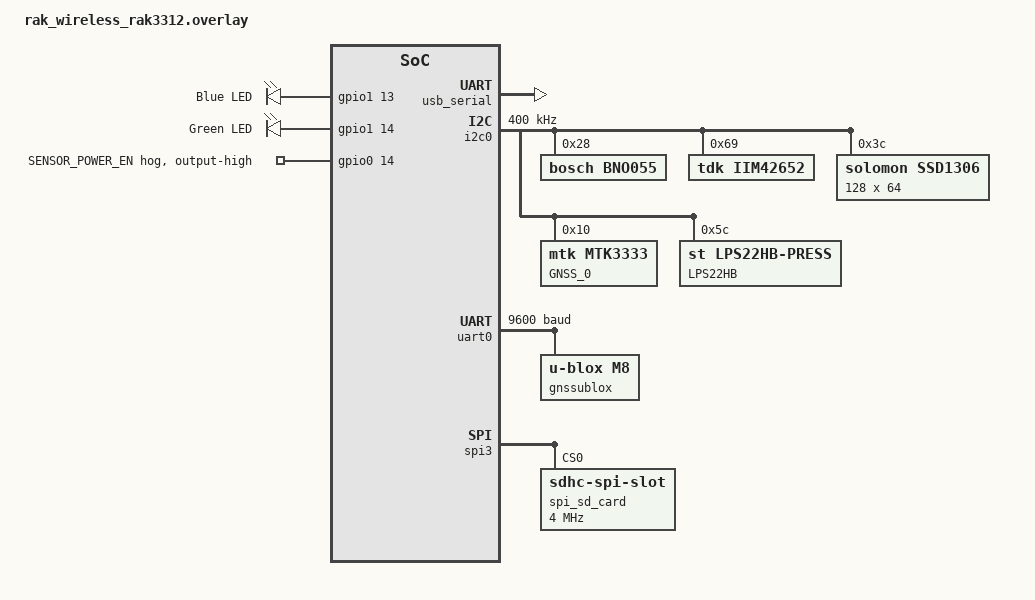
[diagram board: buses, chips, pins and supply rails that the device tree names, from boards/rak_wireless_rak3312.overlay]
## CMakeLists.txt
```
# SPDX-License-Identifier: Apache-2.0

cmake_minimum_required(VERSION 3.13.1)

get_filename_component(PARENT_DIR "${CMAKE_CURRENT_SOURCE_DIR}" DIRECTORY)
list(APPEND ZEPHYR_EXTRA_MODULES ${PARENT_DIR}/astro_custom_modules/libmicroros)
list(APPEND ZEPHYR_EXTRA_MODULES ${PARENT_DIR}/astro_custom_modules/sensor)
list(APPEND ZEPHYR_EXTRA_MODULES ${PARENT_DIR}/astro_custom_modules/iim42652_rak12033)
list(APPEND ZEPHYR_EXTRA_MODULES ${PARENT_DIR}/astro_custom_modules/gnss)

# Include local credentials (Wi-Fi SSID/password, agent IP) without committing them.
# Copy local.conf.example -> local.conf and fill in your values.
if(EXISTS "${CMAKE_CURRENT_SOURCE_DIR}/local.conf")
    list(APPEND OVERLAY_CONFIG "${CMAKE_CURRENT_SOURCE_DIR}/local.conf")
endif()

find_package(Zephyr REQUIRED HINTS $ENV{ZEPHYR_BASE})
project(microros_node)
if(CONFIG_PICOLIBC)
    add_compile_definitions(__STDC_WANT_LIB_EXT1__=1)
endif()

# The ESP32 WiFi adapter (libzephyr) and picolibc both define random().
# Allow the linker to pick the first definition (ESP32's) and ignore the duplicate.
if(CONFIG_WIFI_ESP32 AND CONFIG_PICOLIBC)
    zephyr_link_libraries(-Wl,--allow-multiple-definition)
endif()


target_sources(app PRIVATE src/node_main.cpp src/node_callbacks.cpp src/gnss_handler.cpp src/wifi_handler.cpp src/storage.cpp src/oled_wrapper.cpp src/oled_layout.cpp src/cfb_font_0608.c)
set_source_files_properties(src/wifi_handler.cpp PROPERTIES COMPILE_OPTIONS "-fpermissive")
message(board name is ${BOARD} \n\n)
if(BOARD STREQUAL "adafruit_feather_esp32s3")
    target_sources(app PRIVATE src/status_class.cpp)
endif()
```

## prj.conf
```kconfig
CONFIG_GPIO=y
CONFIG_REBOOT=y

# Display / OLED
CONFIG_DISPLAY=y
CONFIG_CHARACTER_FRAMEBUFFER=y
CONFIG_CHARACTER_FRAMEBUFFER_USE_DEFAULT_FONTS=n
CONFIG_MICROROS=y
CONFIG_MICROROS_PUBLISHERS="8"
CONFIG_MICROROS_SUBSCRIBERS="8"
CONFIG_MICROROS_CLIENTS="8"
CONFIG_MICROROS_SERVERS="8"
CONFIG_MICROROS_GUARD_CONDITIONS="8"
CONFIG_MICROROS_XRCE_DDS_HISTORIC="8"
CONFIG_MICROROS_RMW_HISTORIC="8"
CONFIG_MICROROS_XRCE_DDS_MTU="512"
CONFIG_MICROROS_TRANSPORT_UDP=y
# Wi-Fi credentials and agent address are kept out of version control.
# Set them in local.conf (see local.conf.example).

CONFIG_NETWORKING=y
CONFIG_NET_IPV4=y
CONFIG_NET_IPV6=n
CONFIG_NET_UDP=y
CONFIG_NET_DHCPV4=y
CONFIG_NET_SOCKETS=y
CONFIG_NET_MGMT=y
CONFIG_NET_MGMT_EVENT=y
CONFIG_NET_MGMT_EVENT_INFO=y
CONFIG_NET_L2_WIFI_MGMT=y
CONFIG_WIFI=y
CONFIG_WIFI_ESP32=y
CONFIG_ESP32_WIFI_STA_AUTO_DHCPV4=y
CONFIG_CPP=y

CONFIG_MAIN_STACK_SIZE=8192

CONFIG_PICOLIBC=y
CONFIG_POSIX_API=y

CONFIG_STDOUT_CONSOLE=y
CONFIG_LOG=y
CONFIG_SERIAL=y
CONFIG_UART_CONSOLE=y
CONFIG_CONSOLE=y
CONFIG_PICOLIBC_MODULE=y
CONFIG_STD_CPP14=y
CONFIG_REQUIRES_FULL_LIBCPP=y
CONFIG_POSIX_CLOCK_SELECTION=y
```

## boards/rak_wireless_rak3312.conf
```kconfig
# USB device (new stack)
CONFIG_USB_DEVICE_STACK_NEXT=y
CONFIG_USB_DEVICE_PRODUCT="ESP32_S3"
CONFIG_USB_DEVICE_MANUFACTURER="RAK Wireless"

# CDC ACM class
CONFIG_USB_CDC_ACM=y

# Console over USB
CONFIG_SERIAL=y
CONFIG_UART_CONSOLE=y
CONFIG_UART_INTERRUPT_DRIVEN=y
CONFIG_CONSOLE=y

# Logging (optional but useful)
CONFIG_LOG=y
CONFIG_LOG_MODE_DEFERRED=y

CONFIG_MICROROS_TRANSPORT_UDP=y

CONFIG_PRINTK=y
CONFIG_LOG_DEFAULT_LEVEL=3

#Sensors
CONFIG_I2C=y
CONFIG_SENSOR=y
CONFIG_BNO055=y
CONFIG_SENSOR_LOG_LEVEL_DBG=y
CONFIG_CBPRINTF_FP_SUPPORT=y
CONFIG_CBPRINTF_COMPLETE=y
CONFIG_GPIO=y
CONFIG_IIM42652=y

CONFIG_DISPLAY=y
CONFIG_SSD1306=y
CONFIG_SSD1306_DEFAULT_CONTRAST=128
CONFIG_CHARACTER_FRAMEBUFFER=y
CONFIG_CHARACTER_FRAMEBUFFER_USE_DEFAULT_FONTS=y
CONFIG_CFB_LOG_LEVEL_INF=y

CONFIG_GNSS=y
CONFIG_GNSS_SATELLITES=y
CONFIG_MTK3333=y

CONFIG_ESP_SPIRAM=y
CONFIG_SPIRAM_MODE_OCT=y
CONFIG_ESP_SPIRAM_MEMTEST=y

CONFIG_WATCHDOG=y
CONFIG_WDT_LOG_LEVEL_INF=y
CONFIG_HWINFO=y

# Enable LED driver
CONFIG_LED=y
CONFIG_PM=n
CONFIG_PM_DEVICE=n
CONFIG_PM_DEVICE_RUNTIME=n

# SDMMC
CONFIG_FILE_SYSTEM=y
CONFIG_FAT_FILESYSTEM_ELM=y
CONFIG_FILE_SYSTEM_MKFS=y

CONFIG_DISK_ACCESS=y
CONFIG_DISK_DRIVER_SDMMC=y
CONFIG_SPI=y
CONFIG_GPIO=y
# Enable FAT Long Filename support
CONFIG_FS_FATFS_LFN=y
CONFIG_FS_FATFS_LFN_MODE_HEAP=y

# Shell access
CONFIG_SHELL=n
CONFIG_SHELL_BACKEND_SERIAL=n
CONFIG_FILE_SYSTEM_SHELL=n
CONFIG_KERNEL_SHELL=n


# ========== NEW USB STACK ==========
CONFIG_USB_DEVICE_INITIALIZE_AT_BOOT=n

# USB Mass Storage (NEW API)
CONFIG_USBD_MSC_CLASS=y
CONFIG_USBD_MSC_LUNS_PER_INSTANCE=3
CONFIG_CDC_ACM_SERIAL_INITIALIZE_AT_BOOT=n

# USB Device Info
CONFIG_USB_DEVICE_VID=0x2FE3
CONFIG_USB_DEVICE_PID=0x0100

# Heap (USB needs more)
CONFIG_HEAP_MEM_POOL_SIZE=65536

# USB Logging
CONFIG_USB_DEVICE_LOG_LEVEL_INF=y
CONFIG_USBD_LOG_LEVEL_INF=y

# micro-ROS over Wi-Fi (UDP)
CONFIG_NETWORKING=y
CONFIG_NET_IPV4=y
CONFIG_NET_IPV6=n
CONFIG_NET_UDP=y
CONFIG_NET_DHCPV4=y
CONFIG_NET_SOCKETS=y
CONFIG_NET_MGMT=y
CONFIG_NET_MGMT_EVENT=y
CONFIG_NET_MGMT_EVENT_INFO=y
CONFIG_NET_L2_WIFI_MGMT=y
CONFIG_WIFI=y
CONFIG_WIFI_ESP32=y
CONFIG_ESP32_WIFI_STA_AUTO_DHCPV4=y

# Wi-Fi credentials and agent address are kept out of version control.
# Set them in local.conf (see local.conf.example).
```

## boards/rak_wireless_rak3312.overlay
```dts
#include <zephyr/dt-bindings/led/led.h>


/ {
	chosen {
		zephyr,console = &usb_serial;
		zephyr,shell-uart = &usb_serial;
	};
    aliases {
        op-green-led = &green_led;
        op-blue-led = &blue_led;
        gnss = &gnssnode;
        ubloxgnss = &gnssublox;
    };
    leds {
		compatible = "gpio-leds";
		blue_led: led_0 {
			gpios = <&gpio1 13 GPIO_ACTIVE_HIGH>; /* G45 */
			label = "Blue LED";
		};
		green_led: led_1 {
			gpios = <&gpio1 14 GPIO_ACTIVE_HIGH>; /* G46 */
			label = "Green LED";
		};
	};
};

&usb_serial {
	status = "okay";
};
&gpio1 {
	status = "okay";
};

&gpio0 {
    status = "okay";
     /*
     * Needed to power the sensor slot A ( and possibly B , C and D )
     */
    sensor_slot_power: sensor-slot-power {
        gpio-hog;
        gpios = <14 GPIO_ACTIVE_HIGH>;
        output-high;
        line-name = "SENSOR_POWER_EN";
    };
};



&i2c0 {
	status = "okay";
	pinctrl-0 = <&i2c0_default>;
	pinctrl-names = "default";
	clock-frequency = <I2C_BITRATE_FAST>;
    bno055: bno055@28 {
        status = "okay";
        compatible = "bosch,bno055";
        reg = <0x28>;
        use_xtal;
        zephyr,deferred-init;
    };
    iim42652: iim42652@69 {
        status = "okay";
        compatible = "tdk,iim42652";
        reg = <0x69>;
        zephyr,deferred-init;
    };
    ssd1306: ssd1306@3c {
        status = "okay";
        compatible = "solomon,ssd1306";
        reg = <0x3c>;
        width = <128>;
        height = <64>;

        segment-offset = <0>;
        page-offset = <0>;
        display-offset = <0>;
        multiplex-ratio = <63>;
        prechargep = <0x22>;
        label = "SSD1306";
        ready-time-ms = <1000>;
        segment-remap;
        com-invdir;
    };
    gnssnode: gnss@10 {
        compatible = "mtk,mtk3333";
        reg = <0x10>;
        label = "GNSS_0";
        status = "okay";
    };
    lps22hbnode: lps22hb@5c {
        compatible = "st,lps22hb-press";
        reg = <0x5c>;
        label = "LPS22HB";
        status = "okay";
    };
};

&uart0 {
    status = "okay";
    current-speed = <9600>;
    gnssublox: u_blox_m10 {
        status = "okay";
        compatible = "u-blox,m8";
        initial-baudrate = <9600>;
    };
};

&spi3 {
    status = "okay";
    pinctrl-0 = <&spim3_default>;
    pinctrl-names = "default";
    /* Override address/size cells for proper SPI device addressing */
    #address-cells = <1>;
    #size-cells = <0>;
    spi_sd_card: sdhc@0 {  /* Changed label from sdhc0 to spi_sd_card */
        compatible = "zephyr,sdhc-spi-slot";
        reg = <0>;
        status = "okay";
        spi-max-frequency = <4000000>;

        mmc {
            compatible = "zephyr,sdmmc-disk";
            disk-name = "SD";
            status = "okay";
        };
    };
};
```

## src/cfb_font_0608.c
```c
/*
 * This file was automatically generated using the following command:
 * /projects/github_repos/astro/zephyr_workspace/zephyr/scripts/build/gen_cfb_font_header.py -i
 * /usr/share/fonts/truetype/dejavu/DejaVuSansMono.ttf -s 9 -x 6 -y 8 -n font0608 --first 32 --last 126 --y-offset -2
 *
 */

#include <zephyr/display/cfb.h>
#include <zephyr/kernel.h>

static const uint8_t cfb_font_font0608_68[95][6] = {
    /* 32 ( ) */
    {
        0x00, /*          */
        0x00, /*          */
        0x00, /*          */
        0x00, /*          */
        0x00, /*          */
        0x00, /*          */
    },
    /* 33 (!) */
    {
        0x00, /*          */
        0x00, /*          */
        0x5f, /* ##### #  */
        0x00, /*          */
        0x00, /*          */
        0x00, /*          */
    },
    /* 34 (") */
    {
        0x00, /*          */
        0x03, /* ##       */
        0x00, /*          */
        0x03, /* ##       */
        0x00, /*          */
        0x00, /*          */
    },
    /* 35 (#) */
    {
        0x54, /*   # # #  */
        0x3e, /*  #####   */
        0x75, /* # # ###  */
        0x1f, /* #####    */
        0x14, /*   # #    */
        0x00, /*          */
    },
    /* 36 ($) */
    {
        0x00, /*          */
        0x4c, /*   ##  #  */
        0x4a, /*  # #  #  */
        0xff, /* ######## */
        0x52, /*  #  # #  */
        0x32, /*  #  ##   */
    },
    /* 37 (%) */
    {
        0x07, /* ###      */
        0x15, /* # # #    */
        0x7f, /* #######  */
        0x58, /*    ## #  */
        0x74, /*   # ###  */
        0x00, /*          */
    },
    /* 38 (&) */
    {
        0x00, /*          */
        0x30, /*     ##   */
        0x4f, /* ####  #  */
        0x79, /* #  ####  */
        0x51, /* #   # #  */
        0x00, /*          */
    },
    /* 39 (') */
    {
        0x00, /*          */
        0x00, /*          */
        0x03, /* ##       */
        0x00, /*          */
        0x00, /*          */
        0x00, /*          */
    },
    /* 40 (() */
    {
        0x00, /*          */
        0x00, /*          */
        0x3f, /* ######   */
        0x40, /*       #  */
        0x00, /*          */
        0x00, /*          */
    },
    /* 41 ()) */
    {
        0x00, /*          */
        0x00, /*          */
        0x61, /* #    ##  */
        0x1e, /*  ####    */
        0x00, /*          */
        0x00, /*          */
    },
    /* 42 (*) */
    {
        0x09, /* #  #     */
        0x06, /*  ##      */
        0x0f, /* ####     */
        0x06, /*  ##      */
        0x09, /* #  #     */
        0x00, /*          */
    },
    /* 43 (+) */
    {
        0x10, /*     #    */
        0x10, /*     #    */
        0x7c, /*   #####  */
        0x10, /*     #    */
        0x10, /*     #    */
        0x00, /*          */
    },
    /* 44 (,) */
    {
        0x00, /*          */
        0x00, /*          */
        0xc0, /*       ## */
        0x00, /*          */
        0x00, /*          */
        0x00, /*          */
    },
    /* 45 (-) */
    {
        0x00, /*          */
        0x00, /*          */
        0x10, /*     #    */
        0x10, /*     #    */
        0x00, /*          */
        0x00, /*          */
    },
    /* 46 (.) */
    {
        0x00, /*          */
        0x00, /*          */
        0x40, /*       #  */
        0x00, /*          */
        0x00, /*          */
        0x00, /*          */
    },
    /* 47 (/) */
    {
        0x40, /*       #  */
        0x38, /*    ###   */
        0x0e, /*  ###     */
        0x01, /* #        */
        0x00, /*          */
        0x00, /*          */
    },
    /* 48 (0) */
    {
        0x00, /*          */
        0x3e, /*  #####   */
        0x41, /* #     #  */
        0x49, /* #  #  #  */
        0x3e, /*  #####   */
        0x00, /*          */
    },
    /* 49 (1) */
    {
        0x00, /*          */
        0x00, /*          */
        0x41, /* #     #  */
        0x7f, /* #######  */
        0x40, /*       #  */
        0x00, /*          */
    },
    /* 50 (2) */
    {
        0x00, /*          */
        0x62, /*  #   ##  */
        0x71, /* #   ###  */
        0x59, /* #  ## #  */
        0x4e, /*  ###  #  */
        0x00, /*          */
    },
    /* 51 (3) */
    {
        0x00, /*          */
        0x42, /*  #    #  */
        0x49, /* #  #  #  */
        0x49, /* #  #  #  */
        0x36, /*  ## ##   */
        0x00, /*          */
    },
    /* 52 (4) */
    {
        0x00, /*          */
        0x30, /*     ##   */
        0x2c, /*   ## #   */
        0x7f, /* #######  */
        0x20, /*      #   */
        0x00, /*          */
    },
    /* 53 (5) */
    {
        0x00, /*          */
        0x4f, /* ####  #  */
        0x49, /* #  #  #  */
        0x49, /* #  #  #  */
        0x31, /* #   ##   */
        0x00, /*          */
    },
    /* 54 (6) */
    {
        0x00, /*          */
        0x3e, /*  #####   */
        0x4b, /* ## #  #  */
        0x49, /* #  #  #  */
        0x39, /* #  ###   */
        0x00, /*          */
    },
    /* 55 (7) */
    {
        0x00, /*          */
        0x01, /* #        */
        0x61, /* #    ##  */
        0x3d, /* # ####   */
        0x03, /* ##       */
        0x00, /*          */
    },
    /* 56 (8) */
    {
        0x00, /*          */
        0x36, /*  ## ##   */
        0x49, /* #  #  #  */
        0x49, /* #  #  #  */
        0x36, /*  ## ##   */
        0x00, /*          */
    },
    /* 57 (9) */
    {
        0x00, /*          */
        0x4e, /*  ###  #  */
        0x49, /* #  #  #  */
        0x69, /* #  # ##  */
        0x3e, /*  #####   */
        0x00, /*          */
    },
    /* 58 (:) */
    {
        0x00, /*          */
        0x00, /*          */
        0x44, /*   #   #  */
        0x00, /*          */
        0x00, /*          */
        0x00, /*          */
    },
    /* 59 (;) */
    {
        0x00, /*          */
        0x00, /*          */
        0xc4, /*   #   ## */
        0x00, /*          */
        0x00, /*          */
        0x00, /*          */
    },
    /* 60 (<) */
    {
        0x00, /*          */
        0x10, /*     #    */
        0x18, /*    ##    */
        0x18, /*    ##    */
        0x28, /*    # #   */
        0x24, /*   #  #   */
    },
    /* 61 (=) */
    {
        0x28, /*    # #   */
        0x28, /*    # #   */
        0x28, /*    # #   */
        0x28, /*    # #   */
        0x28, /*    # #   */
        0x00, /*          */
    },
    /* 62 (>) */
    {
        0x00, /*          */
        0x24, /*   #  #   */
        0x28, /*    # #   */
        0x18, /*    ##    */
        0x18, /*    ##    */
        0x10, /*     #    */
    },
    /* 63 (?) */
    {
        0x00, /*          */
        0x01, /* #        */
        0x59, /* #  ## #  */
        0x05, /* # #      */
        0x03, /* ##       */
        0x00, /*          */
    },
    /* 64 (@) */
    {
        0x00, /*          */
        0x7c, /*   #####  */
        0xc2, /*  #    ## */
        0xba, /*  # ### # */
        0x3c, /*   ####   */
        0x00, /*          */
    },
    /* 65 (A) */
    {
        0x00, /*          */
        0x78, /*    ####  */
        0x27, /* ###  #   */
        0x27, /* ###  #   */
        0x78, /*    ####  */
        0x00, /*          */
    },
    /* 66 (B) */
    {
        0x00, /*          */
        0x7f, /* #######  */
        0x49, /* #  #  #  */
        0x49, /* #  #  #  */
        0x76, /*  ## ###  */
        0x00, /*          */
    },
    /* 67 (C) */
    {
        0x00, /*          */
        0x3e, /*  #####   */
        0x41, /* #     #  */
        0x41, /* #     #  */
        0x41, /* #     #  */
        0x00, /*          */
    },
    /* 68 (D) */
    {
        0x00, /*          */
        0x7f, /* #######  */
        0x41, /* #     #  */
        0x41, /* #     #  */
        0x3e, /*  #####   */
        0x00, /*          */
    },
    /* 69 (E) */
    {
        0x00, /*          */
        0x7f, /* #######  */
        0x49, /* #  #  #  */
        0x49, /* #  #  #  */
        0x49, /* #  #  #  */
        0x00, /*          */
    },
    /* 70 (F) */
    {
        0x00, /*          */
        0x7f, /* #######  */
        0x09, /* #  #     */
        0x09, /* #  #     */
        0x09, /* #  #     */
        0x00, /*          */
    },
    /* 71 (G) */
    {
        0x00, /*          */
        0x3e, /*  #####   */
        0x41, /* #     #  */
        0x49, /* #  #  #  */
        0x79, /* #  ####  */
        0x00, /*          */
    },
    /* 72 (H) */
    {
        0x00, /*          */
        0x7f, /* #######  */
        0x08, /*    #     */
        0x08, /*    #     */
        0x7f, /* #######  */
        0x00, /*          */
    },
    /* 73 (I) */
    {
        0x00, /*          */
        0x41, /* #     #  */
        0x7f, /* #######  */
        0x41, /* #     #  */
        0x00, /*          */
        0x00, /*          */
    },
    /* 74 (J) */
    {
        0x00, /*          */
        0x40, /*       #  */
        0x41, /* #     #  */
        0x41, /* #     #  */
        0x7f, /* #######  */
        0x00, /*          */
    },
    /* 75 (K) */
    {
        0x00, /*          */
        0x7f, /* #######  */
        0x0c, /*   ##     */
        0x32, /*  #  ##   */
        0x41, /* #     #  */
        0x00, /*          */
    },
    /* 76 (L) */
    {
        0x00, /*          */
        0x7f, /* #######  */
        0x40, /*       #  */
        0x40, /*       #  */
        0x40, /*       #  */
        0x00, /*          */
    },
    /* 77 (M) */
    {
        0x00, /*          */
        0x7f, /* #######  */
        0x1e, /*  ####    */
        0x1e, /*  ####    */
        0x7f, /* #######  */
        0x00, /*          */
    },
    /* 78 (N) */
    {
        0x00, /*          */
        0x7f, /* #######  */
        0x06, /*  ##      */
        0x38, /*    ###   */
        0x7f, /* #######  */
        0x00, /*          */
    },
    /* 79 (O) */
    {
        0x00, /*          */
        0x3e, /*  #####   */
        0x41, /* #     #  */
        0x41, /* #     #  */
        0x3e, /*  #####   */
        0x00, /*          */
    },
    /* 80 (P) */
    {
        0x00, /*          */
        0x7f, /* #######  */
        0x09, /* #  #     */
        0x09, /* #  #     */
        0x06, /*  ##      */
        0x00, /*          */
    },
    /* 81 (Q) */
    {
        0x00, /*          */
        0x3e, /*  #####   */
        0x41, /* #     #  */
        0x41, /* #     #  */
        0xbe, /*  ##### # */
        0x00, /*          */
    },
    /* 82 (R) */
    {
        0x00, /*          */
        0x7f, /* #######  */
        0x09, /* #  #     */
        0x19, /* #  ##    */
        0x36, /*  ## ##   */
        0x40, /*       #  */
    },
    /* 83 (S) */
    {
        0x00, /*          */
        0x26, /*  ##  #   */
        0x49, /* #  #  #  */
        0x49, /* #  #  #  */
        0x3a, /*  # ###   */
        0x00, /*          */
    },
    /* 84 (T) */
    {
        0x01, /* #        */
        0x01, /* #        */
        0x7f, /* #######  */
        0x01, /* #        */
        0x01, /* #        */
        0x00, /*          */
    },
    /* 85 (U) */
    {
        0x00, /*          */
        0x3f, /* ######   */
        0x40, /*       #  */
        0x40, /*       #  */
        0x3f, /* ######   */
        0x00, /*          */
    },
    /* 86 (V) */
    {
        0x00, /*          */
        0x03, /* ##       */
        0x7c, /*   #####  */
        0x7c, /*   #####  */
        0x03, /* ##       */
        0x00, /*          */
    },
    /* 87 (W) */
    {
        0x0f, /* ####     */
        0x78, /*    ####  */
        0x04, /*   #      */
        0x78, /*    ####  */
        0x0f, /* ####     */
        0x00, /*          */
    },
    /* 88 (X) */
    {
        0x00, /*          */
        0x63, /* ##   ##  */
        0x1c, /*   ###    */
        0x1c, /*   ###    */
        0x63, /* ##   ##  */
        0x00, /*          */
    },
    /* 89 (Y) */
    {
        0x01, /* #        */
        0x06, /*  ##      */
        0x78, /*    ####  */
        0x06, /*  ##      */
        0x01, /* #        */
        0x00, /*          */
    },
    /* 90 (Z) */
    {
        0x00, /*          */
        0x61, /* #    ##  */
        0x51, /* #   # #  */
        0x4d, /* # ##  #  */
        0x43, /* ##    #  */
        0x00, /*          */
    },
    /* 91 ([) */
    {
        0x00, /*          */
        0x00, /*          */
        0x7f, /* #######  */
        0x41, /* #     #  */
        0x00, /*          */
        0x00, /*          */
    },
    /* 92 (\) */
    {
        0x01, /* #        */
        0x0e, /*  ###     */
        0x38, /*    ###   */
        0x40, /*       #  */
        0x00, /*          */
        0x00, /*          */
    },
    /* 93 (]) */
    {
        0x00, /*          */
        0x00, /*          */
        0x41, /* #     #  */
        0x7f, /* #######  */
        0x00, /*          */
        0x00, /*          */
    },
    /* 94 (^) */
    {
        0x02, /*  #       */
        0x02, /*  #       */
        0x01, /* #        */
        0x02, /*  #       */
        0x00, /*          */
        0x00, /*          */
    },
    /* 95 (_) */
    {
        0x00, /*          */
        0x00, /*          */
        0x00, /*          */
        0x00, /*          */
        0x00, /*          */
        0x00, /*          */
    },
    /* 96 (`) */
    {
        0x00, /*          */
        0x00, /*          */
        0x01, /* #        */
        0x00, /*          */
        0x00, /*          */
        0x00, /*          */
    },
    /* 97 (a) */
    {
        0x00, /*          */
        0x74, /*   # ###  */
        0x54, /*   # # #  */
        0x54, /*   # # #  */
        0x78, /*    ####  */
        0x00, /*          */
    },
    /* 98 (b) */
    {
        0x00, /*          */
        0x7f, /* #######  */
        0x44, /*   #   #  */
        0x44, /*   #   #  */
        0x38, /*    ###   */
        0x00, /*          */
    },
    /* 99 (c) */
    {
        0x00, /*          */
        0x38, /*    ###   */
        0x44, /*   #   #  */
        0x44, /*   #   #  */
        0x44, /*   #   #  */
        0x00, /*          */
    },
    /* 100 (d) */
    {
        0x00, /*          */
        0x38, /*    ###   */
        0x44, /*   #   #  */
        0x44, /*   #   #  */
        0x7f, /* #######  */
        0x00, /*          */
    },
    /* 101 (e) */
    {
        0x00, /*          */
        0x38, /*    ###   */
        0x54, /*   # # #  */
        0x54, /*   # # #  */
        0x58, /*    ## #  */
        0x00, /*          */
    },
    /* 102 (f) */
    {
        0x00, /*          */
        0x04, /*   #      */
        0x7f, /* #######  */
        0x04, /*   #      */
        0x04, /*   #      */
        0x00, /*          */
    },
    /* 103 (g) */
    {
        0x00, /*          */
        0x38, /*    ###   */
        0x44, /*   #   #  */
        0x44, /*   #   #  */
        0xfc, /*   ###### */
        0x00, /*          */
    },
    /* 104 (h) */
    {
        0x00, /*          */
        0x7f, /* #######  */
        0x04, /*   #      */
        0x04, /*   #      */
        0x7c, /*   #####  */
        0x00, /*          */
    },
    /* 105 (i) */
    {
        0x40, /*       #  */
        0x44, /*   #   #  */
        0x7c, /*   #####  */
        0x40, /*       #  */
        0x40, /*       #  */
        0x00, /*          */
    },
    /* 106 (j) */
    {
        0x00, /*          */
        0x00, /*          */
        0x04, /*   #      */
        0xfc, /*   ###### */
        0x00, /*          */
        0x00, /*          */
    },
    /* 107 (k) */
    {
        0x00, /*          */
        0x7f, /* #######  */
        0x10, /*     #    */
        0x28, /*    # #   */
        0x44, /*   #   #  */
        0x00, /*          */
    },
    /* 108 (l) */
    {
        0x00, /*          */
        0x00, /*          */
        0x3f, /* ######   */
        0x40, /*       #  */
        0x40, /*       #  */
        0x00, /*          */
    },
    /* 109 (m) */
    {
        0x00, /*          */
        0x7c, /*   #####  */
        0x04, /*   #      */
        0x7c, /*   #####  */
        0x04, /*   #      */
        0x7c, /*   #####  */
    },
    /* 110 (n) */
    {
        0x00, /*          */
        0x7c, /*   #####  */
        0x04, /*   #      */
        0x04, /*   #      */
        0x7c, /*   #####  */
        0x00, /*          */
    },
    /* 111 (o) */
    {
        0x00, /*          */
        0x38, /*    ###   */
        0x44, /*   #   #  */
        0x44, /*   #   #  */
        0x38, /*    ###   */
        0x00, /*          */
    },
    /* 112 (p) */
    {
        0x00, /*          */
        0xfc, /*   ###### */
        0x44, /*   #   #  */
        0x44, /*   #   #  */
        0x38, /*    ###   */
        0x00, /*          */
    },
    /* 113 (q) */
    {
        0x00, /*          */
        0x38, /*    ###   */
        0x44, /*   #   #  */
        0x44, /*   #   #  */
        0xfc, /*   ###### */
        0x00, /*          */
    },
    /* 114 (r) */
    {
        0x00, /*          */
        0x00, /*          */
        0x7c, /*   #####  */
        0x04, /*   #      */
        0x04, /*   #      */
        0x00, /*          */
    },
    /* 115 (s) */
    {
        0x00, /*          */
        0x4c, /*   ##  #  */
        0x54, /*   # # #  */
        0x54, /*   # # #  */
        0x74, /*   # ###  */
        0x00, /*          */
    },
    /* 116 (t) */
    {
        0x00, /*          */
        0x04, /*   #      */
        0x7e, /*  ######  */
        0x44, /*   #   #  */
        0x44, /*   #   #  */
        0x00, /*          */
    },
    /* 117 (u) */
    {
        0x00, /*          */
        0x7c, /*   #####  */
        0x40, /*       #  */
        0x40, /*       #  */
        0x7c, /*   #####  */
        0x00, /*          */
    },
    /* 118 (v) */
    {
        0x00, /*          */
        0x0c, /*   ##     */
        0x70, /*     ###  */
        0x70, /*     ###  */
        0x0c, /*   ##     */
        0x00, /*          */
    },
    /* 119 (w) */
    {
        0x0c, /*   ##     */
        0x70, /*     ###  */
        0x08, /*    #     */
        0x70, /*     ###  */
        0x0c, /*   ##     */
        0x00, /*          */
    },
    /* 120 (x) */
    {
        0x00, /*          */
        0x44, /*   #   #  */
        0x38, /*    ###   */
        0x38, /*    ###   */
        0x44, /*   #   #  */
        0x00, /*          */
    },
    /* 121 (y) */
    {
        0x00, /*          */
        0x0c, /*   ##     */
        0xf0, /*     #### */
        0x30, /*     ##   */
        0x0c, /*   ##     */
        0x00, /*          */
    },
    /* 122 (z) */
    {
        0x00, /*          */
        0x44, /*   #   #  */
        0x74, /*   # ###  */
        0x5c, /*   ### #  */
        0x44, /*   #   #  */
        0x00, /*          */
    },
    /* 123 ({) */
    {
        0x00, /*          */
        0x04, /*   #      */
        0x7b, /* ## ####  */
        0x40, /*       #  */
        0x00, /*          */
        0x00, /*          */
    },
    /* 124 (|) */
    {
        0x00, /*          */
        0x00, /*          */
        0xff, /* ######## */
        0x00, /*          */
        0x00, /*          */
        0x00, /*          */
    },
    /* 125 (}) */
    {
        0x00, /*          */
        0x40, /*       #  */
        0x7b, /* ## ####  */
        0x04, /*   #      */
        0x00, /*          */
        0x00, /*          */
    },
    /* 126 (~) */
    {
        0x00, /*          */
        0x08, /*    #     */
        0x08, /*    #     */
        0x08, /*    #     */
        0x10, /*     #    */
        0x10, /*     #    */
    },

};

FONT_ENTRY_DEFINE(font0608_68, 6, 8, CFB_FONT_MONO_VPACKED, cfb_font_font0608_68, 32, 126);
```

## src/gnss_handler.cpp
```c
/*
 *   This file is part of astro.
 *
 *   astro is free software: you can redistribute it and/or modify
 *   it under the terms of the GNU General Public License as published by
 *   the Free Software Foundation, either version 3 of the License, or
 *   (at your option) any later version.
 *
 *   astro is distributed in the hope that it will be useful,
 *   but WITHOUT ANY WARRANTY; without even the implied warranty of
 *   MERCHANTABILITY or FITNESS FOR A PARTICULAR PURPOSE.  See the
 *   GNU General Public License for more details.
 *
 *   You should have received a copy of the GNU General Public License v3.0
 *   along with astro.  If not, see <https://www.gnu.org/licenses/>.
 */

#include "gnss_handler.hpp"

#include <rmw_microros/rmw_microros.h>
#include <sensor_msgs/msg/nav_sat_status.h>
#include <string.h>
#include <zephyr/drivers/gnss.h>
#include <zephyr/kernel.h>
#include <zephyr/logging/log.h>
#include <zephyr/sys/atomic.h>

LOG_MODULE_DECLARE(all_sensors_module, LOG_LEVEL_DBG);

/* Gate written by node_main after micro-ROS is fully initialised */
extern atomic_t init_complete[];

/* =========================================================
 * State definitions
 * ========================================================= */

#if DT_NODE_HAS_STATUS(DT_ALIAS(gnss), okay)
GnssState mtk3333_state = {};
#endif

#if DT_NODE_HAS_STATUS(DT_ALIAS(ubloxgnss), okay)
GnssState ublox_state = {};
#endif

/* =========================================================
 * Shared helpers
 * ========================================================= */

#if DT_NODE_HAS_STATUS(DT_ALIAS(gnss), okay) || DT_NODE_HAS_STATUS(DT_ALIAS(ubloxgnss), okay)

static void fill_nav_sat_fix(GnssState& state, const struct device* dev, const struct gnss_data* data,
                             const char* tag) {
    k_ticks_t timepulse;
    if (data->info.fix_status != GNSS_FIX_STATUS_NO_FIX && gnss_get_latest_timepulse(dev, &timepulse) == 0) {
        (void)k_ticks_to_ns_near64(timepulse);
    }

    k_spinlock_key_t key = k_spin_lock(&state.msg_lock);

    rcl_time_point_value_t now = rmw_uros_epoch_nanos();
    state.msg.header.stamp.sec = now / 1000000000LL;
    state.msg.header.stamp.nanosec = now % 1000000000LL;

    state.msg.latitude = (double)data->nav_data.latitude / 1e9;
    state.msg.longitude = (double)data->nav_data.longitude / 1e9;
    state.msg.altitude = data->nav_data.altitude / 1e3;  // mm → meters

    switch (data->info.fix_status) {
        case GNSS_FIX_STATUS_GNSS_FIX:
            state.msg.status.status = sensor_msgs__msg__NavSatStatus__STATUS_FIX;
            break;
        case GNSS_FIX_STATUS_DGNSS_FIX:
            state.msg.status.status = sensor_msgs__msg__NavSatStatus__STATUS_SBAS_FIX;
            break;
        default:
            state.msg.status.status = sensor_msgs__msg__NavSatStatus__STATUS_NO_FIX;
            break;
    }

    state.msg.status.service =
        sensor_msgs__msg__NavSatStatus__SERVICE_GPS | sensor_msgs__msg__NavSatStatus__SERVICE_GLONASS;

    double hdop = data->info.hdop / 1e3;
    double variance = (hdop * 5.0) * (hdop * 5.0);
    memset(state.msg.position_covariance, 0, sizeof(state.msg.position_covariance));
    state.msg.position_covariance[0] = variance;
    state.msg.position_covariance[4] = variance;
    state.msg.position_covariance[8] = variance * 4.0;
    state.msg.position_covariance_type = sensor_msgs__msg__NavSatFix__COVARIANCE_TYPE_APPROXIMATED;

    LOG_DBG("%s: Lat=%.6f Lon=%.6f Alt=%.2f Fix=%d", tag, state.msg.latitude, state.msg.longitude, state.msg.altitude,
            data->info.fix_status);

    atomic_set_bit(&state.msg_ready, 0);
    k_spin_unlock(&state.msg_lock, key);
}

static void count_satellites(atomic_t* tracked_out, const struct gnss_satellite* satellites, uint16_t size,
                             const char* tag) {
    unsigned int tracked = 0, corrected = 0;
    for (uint16_t i = 0; i < size; ++i) {
        tracked += satellites[i].is_tracked;
        corrected += satellites[i].is_corrected;
    }
    atomic_set(tracked_out, (atomic_val_t)tracked);
    LOG_DBG("[%s] %u satellite%s reported (%u tracked, %u RTK)", tag, size, size > 1 ? "s" : "", tracked, corrected);
}

#endif /* gnss || ubloxgnss */

/* =========================================================
 * MTK3333 callbacks
 * ========================================================= */

#if DT_NODE_HAS_STATUS(DT_ALIAS(gnss), okay)

static void mtk3333_gnss_data_cb(const struct device* dev, const struct gnss_data* data) {
    if (!atomic_test_bit(init_complete, 0) || data == NULL) return;
    LOG_DBG("MTK3333 UTC: %02d:%02d", data->utc.hour, data->utc.minute);
    fill_nav_sat_fix(mtk3333_state, dev, data, "MTK3333");
}
GNSS_DATA_CALLBACK_DEFINE(mtk3333_gnss, mtk3333_gnss_data_cb);

#if CONFIG_GNSS_SATELLITES
static void mtk3333_satellites_cb(const struct device* dev, const struct gnss_satellite* satellites, uint16_t size) {
    ARG_UNUSED(dev);
    count_satellites(&mtk3333_state.satellites_tracked, satellites, size, "mtk3333");
}
GNSS_SATELLITES_CALLBACK_DEFINE(mtk3333_gnss, mtk3333_satellites_cb);
#endif /* CONFIG_GNSS_SATELLITES */

#endif /* DT_NODE_HAS_STATUS(DT_ALIAS(gnss), okay) */

/* =========================================================
 * u-blox callbacks
 * ========================================================= */

#if DT_NODE_HAS_STATUS(DT_ALIAS(ubloxgnss), okay)

static void ublox_gnss_data_cb(const struct device* dev, const struct gnss_data* data) {
    if (!atomic_test_bit(init_complete, 0) || data == NULL) return;
    LOG_DBG("uBlox UTC: %02d:%02d", data->utc.hour, data->utc.minute);
    fill_nav_sat_fix(ublox_state, dev, data, "ublox");
}
GNSS_DATA_CALLBACK_DEFINE(ublox_gnss, ublox_gnss_data_cb);

#if CONFIG_GNSS_SATELLITES
static void ublox_satellites_cb(const struct device* dev, const struct gnss_satellite* satellites, uint16_t size) {
    ARG_UNUSED(dev);
    count_satellites(&ublox_state.satellites_tracked, satellites, size, "ublox");
}
GNSS_SATELLITES_CALLBACK_DEFINE(ublox_gnss, ublox_satellites_cb);
#endif /* CONFIG_GNSS_SATELLITES */

#endif /* DT_NODE_HAS_STATUS(DT_ALIAS(ubloxgnss), okay) */
```

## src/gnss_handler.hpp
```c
#pragma once

#include "sensor_state.hpp"

/* Device-access macros — used in both gnss_handler.cpp and node_main.cpp */
#if DT_NODE_HAS_STATUS(DT_ALIAS(gnss), okay)
#define mtk3333_gnss DEVICE_DT_GET(DT_ALIAS(gnss))
extern GnssState mtk3333_state;
#endif

#if DT_NODE_HAS_STATUS(DT_ALIAS(ubloxgnss), okay)
#define ublox_gnss DEVICE_DT_GET(DT_ALIAS(ubloxgnss))
extern GnssState ublox_state;
#endif
```

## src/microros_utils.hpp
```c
#pragma once

#include <rcl/rcl.h>
#include <zephyr/kernel.h>
#include <zephyr/logging/log.h>

/* =========================================================
 * Publisher period constants (milliseconds)
 * ========================================================= */

#define GNSS_PUBLISH_PERIOD_MS 1000
#define IMU_PUBLISH_PERIOD_MS 200
#define IIM42652_PUBLISH_PERIOD_MS 200
#define TIME_SYNC_PERIOD_MS 1000
#define LPS22HB_PUBLISH_PERIOD_MS 2000
#define OLED_VIEW_SWITCH_PERIOD_MS 5000

/* =========================================================
 * Executor configuration
 * ========================================================= */

#define EXECUTOR_STACK_SIZE 8192
#define EXECUTOR_PRIORITY 4

/* =========================================================
 * Error-handling macros
 * ========================================================= */

#define RCCHECK(fn)                                             \
    do {                                                        \
        rcl_ret_t rc = (fn);                                    \
        if (rc != RCL_RET_OK) {                                 \
            LOG_DBG("RCL error %d at line %d\n", rc, __LINE__); \
            for (;;) {                                          \
                k_sleep(K_FOREVER);                             \
            }                                                   \
        }                                                       \
    } while (0)

#define RCSOFTCHECK(fn)                                           \
    do {                                                          \
        rcl_ret_t rc = (fn);                                      \
        if (rc != RCL_RET_OK) {                                   \
            LOG_DBG("RCL warning %d at line %d\n", rc, __LINE__); \
        }                                                         \
    } while (0)
```

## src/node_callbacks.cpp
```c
#include "node_callbacks.hpp"

#include <rmw_microros/rmw_microros.h>
#include <stdio.h>
#include <stdlib.h>
#include <string.h>
#include <time.h>
#include <zephyr/drivers/sensor.h>
#if DT_NODE_HAS_STATUS(DT_NODELABEL(bno055), okay)
#include <bno055.h>
#endif
#include <zephyr/kernel.h>
#include <zephyr/logging/log.h>

#include "microros_utils.hpp"
#include "oled_layout.hpp"
#include "storage.hpp"

LOG_MODULE_DECLARE(all_sensors_module, LOG_LEVEL_DBG);

NodeCallbacks::Context NodeCallbacks::ctx_ = {};
bool NodeCallbacks::initialized_ = false;

void NodeCallbacks::initialize(const Context& context) {
    ctx_ = context;
    initialized_ = true;
}

void NodeCallbacks::handleExecutorIteration() {
    if (!initialized_ || ctx_.oled_layout == nullptr || ctx_.oled_view_switch_request == nullptr) {
        return;
    }

    if (atomic_cas(ctx_.oled_view_switch_request, 1, 0)) {
        LOG_INF("OLED button view switch");
        ctx_.oled_layout->next_view();
    }
}

#if DT_NODE_HAS_STATUS(DT_NODELABEL(bno055), okay)
void NodeCallbacks::bno055ImuTimerCallback(rcl_timer_t* timer, int64_t last_call_time) {
    ARG_UNUSED(last_call_time);
    if (!initialized_ || timer == NULL || ctx_.bno055 == nullptr || ctx_.oled_layout == nullptr ||
        ctx_.storage == nullptr) {
        return;
    }

    struct sensor_value eul[3];
    struct sensor_value quat[4];
    struct sensor_value accel[4];
    struct sensor_value gyro[4];

    int rc = sensor_sample_fetch(ctx_.bno055->dev);
    if (rc < 0) {
        LOG_ERR("BNO055 sensor_sample_fetch error: %d", rc);
        return;
    }

    rc = sensor_channel_get(ctx_.bno055->dev, static_cast<sensor_channel>(BNO055_SENSOR_CHAN_EULER_YRP), eul);
    if (rc < 0) {
        LOG_ERR("BNO055 sensor_channel_get euler error: %d", rc);
        return;
    }

    rc = sensor_channel_get(ctx_.bno055->dev, static_cast<sensor_channel>(BNO055_SENSOR_CHAN_QUATERNION_WXYZ), quat);
    if (rc < 0) {
        LOG_ERR("BNO055 sensor_channel_get quaternion error: %d", rc);
        return;
    }

    rc = sensor_channel_get(ctx_.bno055->dev, static_cast<sensor_channel>(BNO055_SENSOR_CHAN_LINEAR_ACCEL_XYZ), accel);
    if (rc < 0) {
        LOG_ERR("BNO055 sensor_channel_get accel error: %d", rc);
        return;
    }

    rc = sensor_channel_get(ctx_.bno055->dev, static_cast<sensor_channel>(BNO055_SENSOR_CHAN_GRAVITY_XYZ), gyro);
    if (rc < 0) {
        LOG_ERR("BNO055 sensor_channel_get gyro error: %d", rc);
        return;
    }

    rcl_time_point_value_t now = rmw_uros_epoch_nanos();
    ctx_.bno055->msg.header.stamp.sec = now / 1000000000LL;
    ctx_.bno055->msg.header.stamp.nanosec = now % 1000000000LL;

    ctx_.bno055->msg.linear_acceleration.x = sensor_value_to_double(&accel[0]);
    ctx_.bno055->msg.linear_acceleration.y = sensor_value_to_double(&accel[1]);
    ctx_.bno055->msg.linear_acceleration.z = sensor_value_to_double(&accel[2]);

    ctx_.bno055->msg.angular_velocity.x = sensor_value_to_double(&gyro[0]);
    ctx_.bno055->msg.angular_velocity.y = sensor_value_to_double(&gyro[1]);
    ctx_.bno055->msg.angular_velocity.z = sensor_value_to_double(&gyro[2]);

    ctx_.bno055->msg.orientation.w = sensor_value_to_double(&quat[0]);
    ctx_.bno055->msg.orientation.x = sensor_value_to_double(&quat[1]);
    ctx_.bno055->msg.orientation.y = sensor_value_to_double(&quat[2]);
    ctx_.bno055->msg.orientation.z = sensor_value_to_double(&quat[3]);

    for (int i = 0; i < 9; ++i) {
        ctx_.bno055->msg.linear_acceleration_covariance[i] = 0.0;
        ctx_.bno055->msg.angular_velocity_covariance[i] = 0.0;
        ctx_.bno055->msg.orientation_covariance[i] = 0.0;
    }

    LOG_DBG("Publishing IMU quat x=%.3f y=%.3f z=%.3f", ctx_.bno055->msg.orientation.x, ctx_.bno055->msg.orientation.y,
            ctx_.bno055->msg.orientation.z);

    char buffer[64];
    ctx_.oled_layout->display_imu_orientation(ctx_.bno055->msg.orientation.x, ctx_.bno055->msg.orientation.y,
                                              ctx_.bno055->msg.orientation.z);
    ctx_.oled_layout->finalize_screen();
    memset(buffer, 0, sizeof(buffer));
    snprintf(buffer, sizeof(buffer), "bno055 X=%.3f Y=%.3f Z=%.3f", ctx_.bno055->msg.orientation.x,
             ctx_.bno055->msg.orientation.y, ctx_.bno055->msg.orientation.z);
    ctx_.storage->log_write(buffer);

    RCSOFTCHECK(rcl_publish(&ctx_.bno055->publisher, &ctx_.bno055->msg, NULL));
}
#endif

#if DT_NODE_HAS_STATUS(DT_ALIAS(gnss), okay) || DT_NODE_HAS_STATUS(DT_ALIAS(ubloxgnss), okay)
void NodeCallbacks::gnssPublishTimerCallback(rcl_timer_t* timer, int64_t last_call_time) {
    ARG_UNUSED(last_call_time);
    if (!initialized_ || timer == NULL) {
        return;
    }

#if DT_NODE_HAS_STATUS(DT_ALIAS(gnss), okay)
    if (ctx_.mtk3333 != nullptr) {
        bool should_publish = false;
        sensor_msgs__msg__NavSatFix snapshot = {};
        k_spinlock_key_t key = k_spin_lock(&ctx_.mtk3333->msg_lock);
        if (atomic_test_bit(&ctx_.mtk3333->msg_ready, 0)) {
            snapshot = ctx_.mtk3333->msg;
            atomic_clear_bit(&ctx_.mtk3333->msg_ready, 0);
            should_publish = true;
        }
        k_spin_unlock(&ctx_.mtk3333->msg_lock, key);

        if (should_publish) {
            RCSOFTCHECK(rcl_publish(&ctx_.mtk3333->publisher, &snapshot, NULL));
            if (ctx_.oled_layout != nullptr) {
                ctx_.oled_layout->display_mtk3333_location(snapshot.latitude, snapshot.longitude, snapshot.altitude);
                ctx_.oled_layout->display_mtk3333_satellites((int)atomic_get(&ctx_.mtk3333->satellites_tracked));
                ctx_.oled_layout->finalize_screen();
            }
            if (ctx_.storage != nullptr) {
                char buffer[128] = {0};
                snprintf(buffer, sizeof(buffer), "MTK3333: Lat=%.6f Lon=%.6f Alt=%.2f Fix=%d", snapshot.latitude,
                         snapshot.longitude, snapshot.altitude, snapshot.status.status);
                ctx_.storage->log_write(buffer);
            }
        }
    }
#endif

#if DT_NODE_HAS_STATUS(DT_ALIAS(ubloxgnss), okay)
    if (ctx_.ublox != nullptr) {
        bool should_publish = false;
        sensor_msgs__msg__NavSatFix snapshot = {};
        k_spinlock_key_t key = k_spin_lock(&ctx_.ublox->msg_lock);
        if (atomic_test_bit(&ctx_.ublox->msg_ready, 0)) {
            snapshot = ctx_.ublox->msg;
            atomic_clear_bit(&ctx_.ublox->msg_ready, 0);
            should_publish = true;
        }
        k_spin_unlock(&ctx_.ublox->msg_lock, key);

        if (should_publish) {
            RCSOFTCHECK(rcl_publish(&ctx_.ublox->publisher, &snapshot, NULL));
            if (ctx_.oled_layout != nullptr) {
                ctx_.oled_layout->display_ublox_location(snapshot.latitude, snapshot.longitude, snapshot.altitude);
                ctx_.oled_layout->display_ublox_satellites((int)atomic_get(&ctx_.ublox->satellites_tracked));
                ctx_.oled_layout->finalize_screen();
            }
            if (ctx_.storage != nullptr) {
                char buffer[128] = {0};
                snprintf(buffer, sizeof(buffer), "UBLOX: Lat=%.6f Lon=%.6f Alt=%.2f Fix=%d", snapshot.latitude,
                         snapshot.longitude, snapshot.altitude, snapshot.status.status);
                ctx_.storage->log_write(buffer);
            }
        }
    }
#endif
}
#endif

void NodeCallbacks::oledViewTimerCallback(rcl_timer_t* timer, int64_t last_call_time) {
    ARG_UNUSED(last_call_time);
    if (!initialized_ || timer == NULL || ctx_.oled_layout == nullptr) {
        return;
    }
    LOG_INF("OLED auto view switch");
    ctx_.oled_layout->next_view();
}

void NodeCallbacks::timeSyncTimerCallback(rcl_timer_t* timer, int64_t last_call_time) {
    ARG_UNUSED(last_call_time);
    if (!initialized_ || timer == NULL || ctx_.time_is_valid == nullptr) {
        return;
    }

    if (rmw_uros_sync_session(50) != RMW_RET_OK) {
        LOG_DBG("micro-ROS time sync failed");
        return;
    }

    int64_t epoch_ms = rmw_uros_epoch_millis();
    if (epoch_ms <= 0) {
        LOG_WRN("Invalid epoch from agent, skipping clock update");
        return;
    }

    struct timespec ts = {
        .tv_sec = (time_t)(epoch_ms / 1000),
        .tv_nsec = (long)((epoch_ms % 1000) * 1000000L),
    };

    if (clock_settime(CLOCK_REALTIME, &ts) == 0) {
        atomic_set(ctx_.time_is_valid, 1);
    }
}

void NodeCallbacks::iim42652TimerCallback(rcl_timer_t* timer, int64_t last_call_time) {
    ARG_UNUSED(last_call_time);
    if (!initialized_ || timer == NULL || ctx_.iim42652 == nullptr || ctx_.iim42652->dev == NULL ||
        !device_is_ready(ctx_.iim42652->dev) || ctx_.storage == nullptr) {
        return;
    }

    struct sensor_value accel[3];
    struct sensor_value gyro[3];

    int rc = sensor_sample_fetch(ctx_.iim42652->dev);
    if (rc < 0) {
        LOG_ERR("IIM42652 sensor_sample_fetch error: %d", rc);
        return;
    }

    rc = sensor_channel_get(ctx_.iim42652->dev, SENSOR_CHAN_ACCEL_XYZ, accel);
    if (rc < 0) {
        LOG_ERR("IIM42652 sensor_channel_get accel error: %d", rc);
        return;
    }

    rc = sensor_channel_get(ctx_.iim42652->dev, SENSOR_CHAN_GYRO_XYZ, gyro);
    if (rc < 0) {
        LOG_ERR("IIM42652 sensor_channel_get gyro error: %d", rc);
        return;
    }

    rcl_time_point_value_t now = rmw_uros_epoch_nanos();
    ctx_.iim42652->msg.header.stamp.sec = now / 1000000000LL;
    ctx_.iim42652->msg.header.stamp.nanosec = now % 1000000000LL;

    ctx_.iim42652->msg.linear_acceleration.x = sensor_value_to_double(&accel[0]);
    ctx_.iim42652->msg.linear_acceleration.y = sensor_value_to_double(&accel[1]);
    ctx_.iim42652->msg.linear_acceleration.z = sensor_value_to_double(&accel[2]);

    ctx_.iim42652->msg.angular_velocity.x = sensor_value_to_double(&gyro[0]);
    ctx_.iim42652->msg.angular_velocity.y = sensor_value_to_double(&gyro[1]);
    ctx_.iim42652->msg.angular_velocity.z = sensor_value_to_double(&gyro[2]);

    ctx_.iim42652->msg.orientation_covariance[0] = -1.0;
    for (int i = 1; i < 9; ++i) {
        ctx_.iim42652->msg.orientation_covariance[i] = 0.0;
        ctx_.iim42652->msg.linear_acceleration_covariance[i] = 0.0;
        ctx_.iim42652->msg.angular_velocity_covariance[i] = 0.0;
    }

    LOG_DBG("IIM42652 accel x=%.3f y=%.3f z=%.3f", ctx_.iim42652->msg.linear_acceleration.x,
            ctx_.iim42652->msg.linear_acceleration.y, ctx_.iim42652->msg.linear_acceleration.z);
    char buffer[64];
    memset(buffer, 0, sizeof(buffer));
    snprintf(buffer, sizeof(buffer), "iim42652 X=%.3f Y=%.3f Z=%.3f", ctx_.iim42652->msg.linear_acceleration.x,
             ctx_.iim42652->msg.linear_acceleration.y, ctx_.iim42652->msg.linear_acceleration.z);
    ctx_.storage->log_write(buffer);
    RCSOFTCHECK(rcl_publish(&ctx_.iim42652->publisher, &ctx_.iim42652->msg, NULL));
}

void NodeCallbacks::lps22hbTimerCallback(rcl_timer_t* timer, int64_t last_call_time) {
    ARG_UNUSED(last_call_time);
    if (!initialized_ || timer == NULL || ctx_.lps22hb == nullptr || ctx_.lps22hb->dev == NULL ||
        ctx_.oled_layout == nullptr || ctx_.storage == nullptr) {
        return;
    }

    struct sensor_value temp, press;
    int rc = sensor_sample_fetch(ctx_.lps22hb->dev);
    if (rc < 0) {
        LOG_ERR("LPS22HB sensor_sample_fetch error: %d", rc);
        return;
    }

    rc = sensor_channel_get(ctx_.lps22hb->dev, SENSOR_CHAN_AMBIENT_TEMP, &temp);
    if (rc < 0) {
        LOG_ERR("LPS22HB sensor_channel_get ambient temp error: %d", rc);
        return;
    }

    rc = sensor_channel_get(ctx_.lps22hb->dev, SENSOR_CHAN_PRESS, &press);
    if (rc < 0) {
        LOG_ERR("LPS22HB sensor_channel_get pressure error: %d", rc);
        return;
    }

    rcl_time_point_value_t now = rmw_uros_epoch_nanos();
    ctx_.lps22hb->temp_msg.header.stamp.sec = now / 1000000000LL;
    ctx_.lps22hb->temp_msg.header.stamp.nanosec = now % 1000000000LL;
    ctx_.lps22hb->pressure_msg.header.stamp = ctx_.lps22hb->temp_msg.header.stamp;

    ctx_.lps22hb->temp_msg.temperature = sensor_value_to_double(&temp);
    ctx_.lps22hb->pressure_msg.fluid_pressure = sensor_value_to_double(&press) * 1000.0;

    RCSOFTCHECK(rcl_publish(&ctx_.lps22hb->temp_publisher, &ctx_.lps22hb->temp_msg, NULL));
    RCSOFTCHECK(rcl_publish(&ctx_.lps22hb->pressure_publisher, &ctx_.lps22hb->pressure_msg, NULL));

    char buffer[64];
    ctx_.oled_layout->display_temperature_pressure(temp.val1, temp.val2, press.val1, press.val2);
    memset(buffer, 0, sizeof(buffer));
    snprintf(buffer, sizeof(buffer), "lps22hb T=%d.%02dC P=%d.%02dkPa", temp.val1, abs(temp.val2) / 10000, press.val1,
             abs(press.val2) / 10000);
    ctx_.storage->log_write(buffer);
    ctx_.oled_layout->finalize_screen();
}
```
